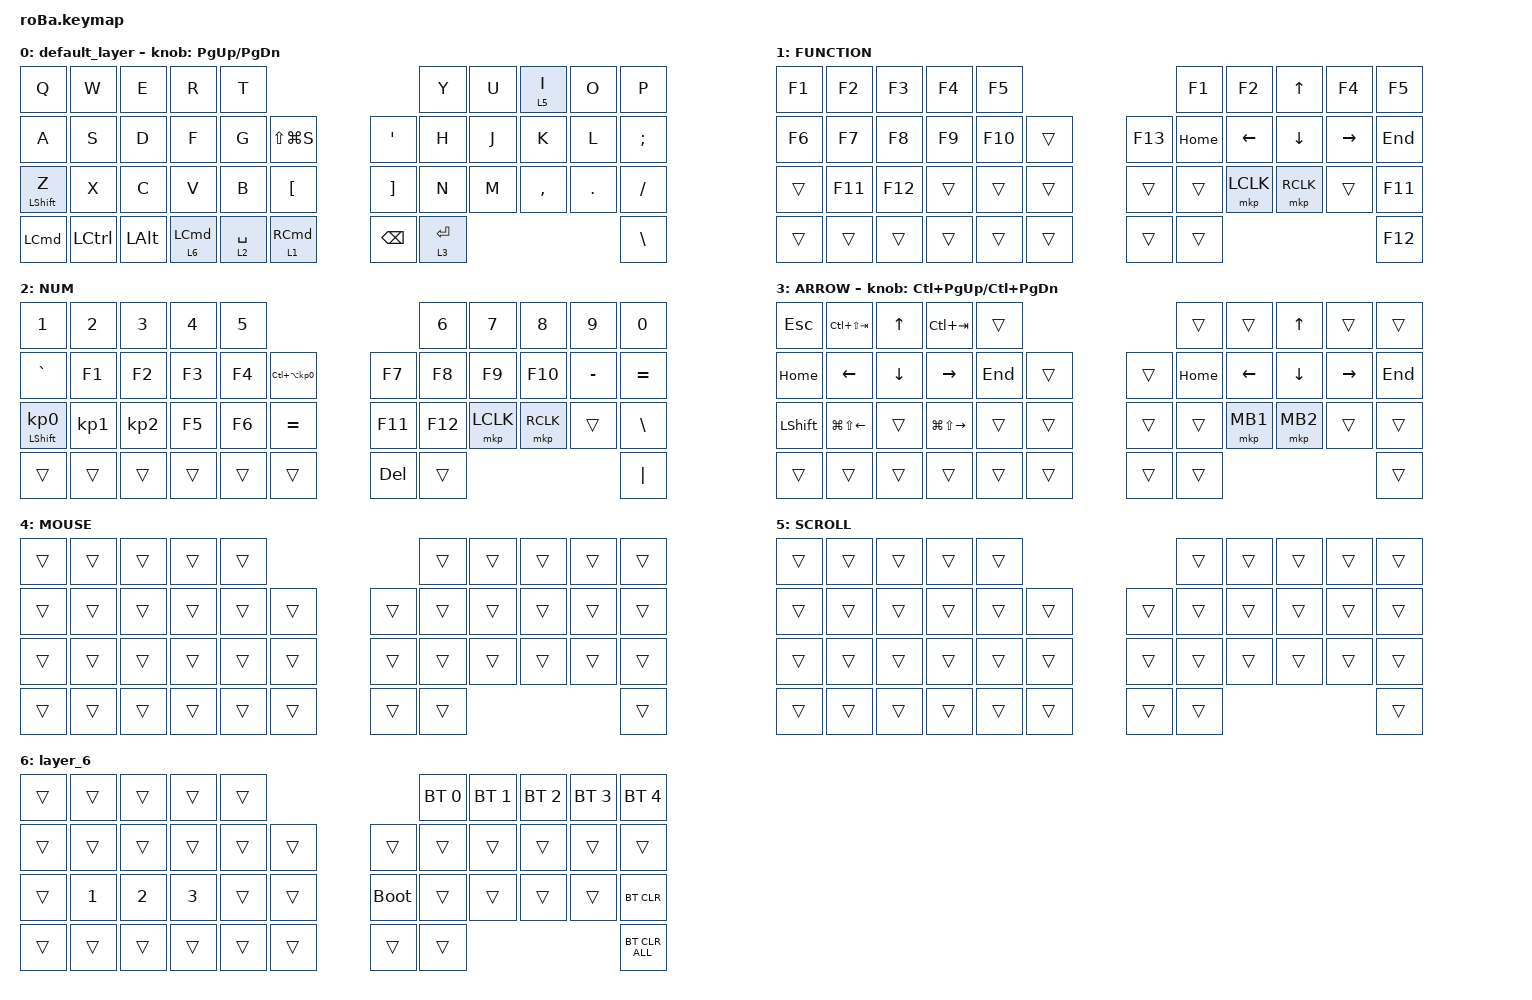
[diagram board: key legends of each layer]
#include <behaviors.dtsi>
#include <dt-bindings/zmk/bt.h>
#include <dt-bindings/zmk/keys.h>
#include <dt-bindings/zmk/pointing.h>

#define MOUSE 4
#define SCROLL 5
#define NUM 6

&mt {
    flavor = "balanced";
    quick-tap-ms = <0>;
};

/ {
    combos {
        compatible = "zmk,combos";

        tab {
            bindings = <&kp TAB>;
            key-positions = <11 12>;
        };

        shift_tab {
            bindings = <&kp LS(TAB)>;
            key-positions = <12 13>;
        };

        muhennkann {
            bindings = <&to_layer_0 INT_MUHENKAN>;
            key-positions = <11 10>;
        };

        double_quotation {
            bindings = <&kp DOUBLE_QUOTES>;
            key-positions = <20 21>;
        };

        eq {
            bindings = <&kp EQUAL>;
            key-positions = <24 25>;
        };
    };

    macros {
        to_layer_0: to_layer_0 {
            compatible = "zmk,behavior-macro-one-param";
            #binding-cells = <1>;
            bindings = <&to 0 &macro_param_1to1 &kp MACRO_PLACEHOLDER>;
            label = "TO_LAYER_0";
        };
    };

    behaviors {
        lt_to_layer_0: lt_to_layer_0 {
            compatible = "zmk,behavior-hold-tap";
            label = "LAYER_TAP_TO_0";
            bindings = <&mo>, <&to_layer_0>;

            #binding-cells = <2>;
            tapping-term-ms = <200>;
        };
    };

    keymap {
        compatible = "zmk,keymap";

        default_layer {
            bindings = <
&kp Q             &kp W             &kp E         &kp R                          &kp T                                                               &kp Y        &kp U  &lt 5 I    &kp O    &kp P
&kp A             &kp S             &kp D         &kp F                          &kp G        &kp LS(LG(S))                       &kp SQT            &kp H        &kp J  &kp K      &kp L    &kp SEMICOLON
&mt LEFT_SHIFT Z  &kp X             &kp C         &kp V                          &kp B        &kp LEFT_BRACKET                    &kp RIGHT_BRACKET  &kp N        &kp M  &kp COMMA  &kp DOT  &kp SLASH
&kp LEFT_COMMAND  &kp LEFT_CONTROL  &kp LEFT_ALT  &lt_to_layer_0 6 LEFT_COMMAND  &lt 2 SPACE  &lt_to_layer_0 1 RIGHT_COMMAND      &kp BACKSPACE      &lt 3 ENTER                             &kp BACKSLASH
            >;

            sensor-bindings = <&inc_dec_kp PG_UP PAGE_DOWN>;
        };

        FUNCTION {
            bindings = <
&kp F1  &kp F2   &kp F3   &kp F4  &kp F5                        &kp F1    &kp F2          &kp UP_ARROW    &kp F4           &kp F5
&kp F6  &kp F7   &kp F8   &kp F9  &kp F10  &trans      &kp F13  &kp HOME  &kp LEFT_ARROW  &kp DOWN_ARROW  &kp RIGHT_ARROW  &kp END
&trans  &kp F11  &kp F12  &trans  &trans   &trans      &trans   &trans    &mkp LCLK       &mkp RCLK       &trans           &kp F11
&trans  &trans   &trans   &trans  &trans   &trans      &trans   &trans                                                     &kp F12
            >;
        };

        NUM {
            bindings = <
&kp NUMBER_1                &kp NUMBER_2     &kp NUMBER_3     &kp NUMBER_4  &kp N5                                           &kp NUMBER_6  &kp N7     &kp N8     &kp N9     &kp N0
&kp GRAVE                   &kp F1           &kp F2           &kp F3        &kp F4  &kp LC(LA(KP_NUMBER_0))      &kp F7      &kp F8        &kp F9     &kp F10    &kp MINUS  &kp EQUAL
&mt LEFT_SHIFT KP_NUMBER_0  &kp KP_NUMBER_1  &kp KP_NUMBER_2  &kp F5        &kp F6  &kp EQUAL                    &kp F11     &kp F12       &mkp LCLK  &mkp RCLK  &trans     &kp BACKSLASH
&trans                      &trans           &trans           &trans        &trans  &trans                       &kp DELETE  &trans                                         &kp PIPE
            >;
        };

        ARROW {
            bindings = <
&kp ESCAPE      &kp LC(LS(TAB))         &kp UP_ARROW    &kp LC(TAB)              &trans                       &trans    &trans    &kp UP    &trans     &trans
&kp HOME        &kp LEFT_ARROW          &kp DOWN_ARROW  &kp RIGHT_ARROW          &kp END  &trans      &trans  &kp HOME  &kp LEFT  &kp DOWN  &kp RIGHT  &kp END
&kp LEFT_SHIFT  &kp LG(LS(LEFT_ARROW))  &trans          &kp LG(LS(RIGHT_ARROW))  &trans   &trans      &trans  &trans    &mkp MB1  &mkp MB2  &trans     &trans
&trans          &trans                  &trans          &trans                   &trans   &trans      &trans  &trans                                   &trans
            >;

            sensor-bindings = <&inc_dec_kp LC(PAGE_UP) LC(PAGE_DOWN)>;
        };

        MOUSE {
            bindings = <
&trans  &trans  &trans  &trans  &trans                      &trans  &trans  &trans  &trans  &trans
&trans  &trans  &trans  &trans  &trans  &trans      &trans  &trans  &trans  &trans  &trans  &trans
&trans  &trans  &trans  &trans  &trans  &trans      &trans  &trans  &trans  &trans  &trans  &trans
&trans  &trans  &trans  &trans  &trans  &trans      &trans  &trans                          &trans
            >;
        };

        SCROLL {
            bindings = <
&trans  &trans  &trans  &trans  &trans                      &trans  &trans  &trans  &trans  &trans
&trans  &trans  &trans  &trans  &trans  &trans      &trans  &trans  &trans  &trans  &trans  &trans
&trans  &trans  &trans  &trans  &trans  &trans      &trans  &trans  &trans  &trans  &trans  &trans
&trans  &trans  &trans  &trans  &trans  &trans      &trans  &trans                          &trans
            >;
        };

        layer_6 {
            bindings = <
&trans  &trans        &trans        &trans        &trans                           &bt BT_SEL 0  &bt BT_SEL 1  &bt BT_SEL 2  &bt BT_SEL 3  &bt BT_SEL 4
&trans  &trans        &trans        &trans        &trans  &trans      &trans       &trans        &trans        &trans        &trans        &trans
&trans  &kp NUMBER_1  &kp NUMBER_2  &kp NUMBER_3  &trans  &trans      &bootloader  &trans        &trans        &trans        &trans        &bt BT_CLR
&trans  &trans        &trans        &trans        &trans  &trans      &trans       &trans                                                  &bt BT_CLR_ALL
            >;
        };
    };
};
